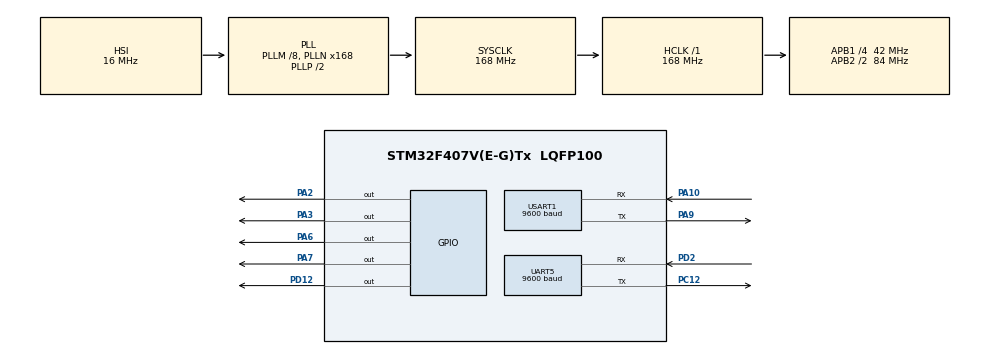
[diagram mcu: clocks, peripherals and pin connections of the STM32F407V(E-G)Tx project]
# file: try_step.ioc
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Mcu.Family=STM32F4
Mcu.Name=STM32F407V(E-G)Tx
Mcu.Package=LQFP100
NVIC.PriorityGroup=NVIC_PRIORITYGROUP_4
NVIC.UART5_IRQn=true\:0\:0\:false\:false\:true\:true
NVIC.USART1_IRQn=true\:0\:0\:false\:false\:true\:true
PA10.Mode=Asynchronous
PA10.Signal=USART1_RX
PA13.Mode=Serial_Wire
PA13.Signal=SYS_JTMS-SWDIO
PA14.Mode=Serial_Wire
PA14.Signal=SYS_JTCK-SWCLK
PA2.Signal=GPIO_Output
PA3.Signal=GPIO_Output
PA6.Signal=GPIO_Output
PA7.Signal=GPIO_Output
PA9.Mode=Asynchronous
PA9.Signal=USART1_TX
PC12.Mode=Asynchronous
PC12.Signal=UART5_TX
PD12.Signal=GPIO_Output
PD2.Mode=Asynchronous
PD2.Signal=UART5_RX
PH0-OSC_IN.Mode=HSE-External-Oscillator
PH0-OSC_IN.Signal=RCC_OSC_IN
PH1-OSC_OUT.Mode=HSE-External-Oscillator
PH1-OSC_OUT.Signal=RCC_OSC_OUT
ProjectManager.HeapSize=0x200
ProjectManager.StackSize=0x400
ProjectManager.TargetToolchain=MDK-ARM V5
RCC.48MHZClocksFreq_Value=84000000
RCC.AHBFreq_Value=168000000
RCC.APB1CLKDivider=RCC_HCLK_DIV4
RCC.APB1Freq_Value=42000000
RCC.APB1TimFreq_Value=84000000
RCC.APB2CLKDivider=RCC_HCLK_DIV2
RCC.APB2Freq_Value=84000000
RCC.APB2TimFreq_Value=168000000
RCC.CortexFreq_Value=168000000
RCC.HCLKFreq_Value=168000000
RCC.HSE_VALUE=25000000
RCC.HSI_VALUE=16000000
RCC.LSE_VALUE=32768
RCC.PLLM=8
RCC.PLLN=168
RCC.SYSCLKFreq_VALUE=168000000
RCC.SYSCLKSource=RCC_SYSCLKSOURCE_PLLCLK
RCC.VCOOutputFreq_Value=336000000
TIM1.Period=65535
TIM1.Prescaler=167
UART5.BaudRate=9600
UART5.VirtualMode=Asynchronous
USART1.BaudRate=9600
USART1.VirtualMode=VM_ASYNC
VP_TIM1_VS_ClockSourceINT.Mode=Internal
board=custom

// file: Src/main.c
/**
  ******************************************************************************
  * @file           : main.c
  * @brief          : Main program body
  ******************************************************************************
  ** This notice applies to any and all portions of this file
  * that are not between comment pairs USER CODE BEGIN and
  * USER CODE END. Other portions of this file, whether
  * inserted by the user or by software development tools
  * are owned by their respective copyright owners.
  *
  * COPYRIGHT(c) 2022 STMicroelectronics
  *
  * Redistribution and use in source and binary forms, with or without modification,
  * are permitted provided that the following conditions are met:
  *   1. Redistributions of source code must retain the above copyright notice,
  *      this list of conditions and the following disclaimer.
  *   2. Redistributions in binary form must reproduce the above copyright notice,
  *      this list of conditions and the following disclaimer in the documentation
  *      and/or other materials provided with the distribution.
  *   3. Neither the name of STMicroelectronics nor the names of its contributors
  *      may be used to endorse or promote products derived from this software
  *      without specific prior written permission.
  *
  * THIS SOFTWARE IS PROVIDED BY THE COPYRIGHT HOLDERS AND CONTRIBUTORS "AS IS"
  * AND ANY EXPRESS OR IMPLIED WARRANTIES, INCLUDING, BUT NOT LIMITED TO, THE
  * IMPLIED WARRANTIES OF MERCHANTABILITY AND FITNESS FOR A PARTICULAR PURPOSE ARE
  * DISCLAIMED. IN NO EVENT SHALL THE COPYRIGHT HOLDER OR CONTRIBUTORS BE LIABLE
  * FOR ANY DIRECT, INDIRECT, INCIDENTAL, SPECIAL, EXEMPLARY, OR CONSEQUENTIAL
  * DAMAGES (INCLUDING, BUT NOT LIMITED TO, PROCUREMENT OF SUBSTITUTE GOODS OR
  * SERVICES; LOSS OF USE, DATA, OR PROFITS; OR BUSINESS INTERRUPTION) HOWEVER
  * CAUSED AND ON ANY THEORY OF LIABILITY, WHETHER IN CONTRACT, STRICT LIABILITY,
  * OR TORT (INCLUDING NEGLIGENCE OR OTHERWISE) ARISING IN ANY WAY OUT OF THE USE
  * OF THIS SOFTWARE, EVEN IF ADVISED OF THE POSSIBILITY OF SUCH DAMAGE.
  *
  ******************************************************************************
  */
#include "main.h"
#include "stm32f4xx_hal.h"

/* USER CODE BEGIN Includes */
#include <stdio.h>
#include <stdlib.h>
#include <string.h>
#include "math.h"

#define LINE_BUFFER_LENGTH 512

#define DIR_PIN GPIO_PIN_3
#define DIR_PORT GPIOA
#define STEP_PIN GPIO_PIN_2
#define STEP_PORT GPIOA

#define DIR_PIN1 GPIO_PIN_7
#define STEP_PIN1 GPIO_PIN_6

#define DIR_PIN2 GPIO_PIN_4
#define STEP_PIN2 GPIO_PIN_5

/* USER CODE END Includes */

TIM_HandleTypeDef htim1;

UART_HandleTypeDef huart5;
UART_HandleTypeDef huart1;

/* USER CODE BEGIN PV */
/* Private variables ---------------------------------------------------------*/
int line_number = 0;

struct point {
	float x;
	float y;
	float z;
};

struct point actuatorPos;

float StepInc = 1;
int penDelay = 50;

uint16_t stepsPerMm = 80;

float Xmin = 0;
float Xmax = 400;
float Ymin = 0;
float Ymax = 400;
float Zmin = 0;
float Zmax = 1;

float Xpos = 0;
float Ypos = 0;
float Zpos = 1;

int stepDelay = 1000;
int dx, dy;
uint8_t flag = 0;

char line[LINE_BUFFER_LENGTH];
uint16_t Index = 0;
uint8_t c;
int lineIndex = 0;
int line_comment = 0;
int line_semicolon = 0;
float posX, posY;

char home[] = "home";

/* USER CODE END PV */

void SystemClock_Config(void);
static void MX_GPIO_Init(void);
static void MX_TIM1_Init(void);
static void MX_UART5_Init(void);
static void MX_USART1_UART_Init(void);

/* USER CODE BEGIN PFP */
/* Private function prototypes -----------------------------------------------*/
void microDelay (uint16_t delay);
void print(char *tx_data);
void print1(char *tx_data);
void Received_and_Send();
void clear_buffer();
void process_command(char *line, uint16_t Index);
void drawLine(float x, float y);
void print_real(float x);
void print_number(int a);
void onestep(uint8_t d, uint8_t a);
void penUp();
void penDown();
void homecoming();
/* USER CODE END PFP */

int main(void)
{

  /* MCU Configuration----------------------------------------------------------*/

  /* Reset of all peripherals, Initializes the Flash interface and the Systick. */
  HAL_Init();

  /* Configure the system clock */
  SystemClock_Config();

  /* Initialize all configured peripherals */
  MX_GPIO_Init();
  MX_TIM1_Init();
  MX_UART5_Init();
  MX_USART1_UART_Init();
  /* USER CODE BEGIN 2 */
	HAL_TIM_Base_Start(&htim1);
	HAL_UART_Receive_IT(&huart5, &c, 1);

	/*print("Mini CNC Plotter alive and kicking!\r\n");
  print("X range is from ");
  print("0");
  print(" to ");
  print("40");
  print(" mm.\r\n");
  print("Y range is from ");
  print("0");
  print(" to ");
  print("40");
  print(" mm.\r\n"); */
  /* USER CODE END 2 */

  /* Infinite loop */
  /* USER CODE BEGIN WHILE */
  while (1)
  {
		int i;
		HAL_UART_Receive_IT(&huart5, &c, 1);

		/*HAL_GPIO_WritePin(DIR_PORT, DIR_PIN, GPIO_PIN_SET);
		HAL_GPIO_WritePin(DIR_PORT, DIR_PIN1, GPIO_PIN_SET);
		for (i = 0; i < 3200; i++){
			HAL_GPIO_WritePin(STEP_PORT, STEP_PIN, GPIO_PIN_SET);
			HAL_GPIO_WritePin(STEP_PORT, STEP_PIN1, GPIO_PIN_SET);
			microDelay (stepDelay);
			HAL_GPIO_WritePin(STEP_PORT, STEP_PIN, GPIO_PIN_RESET);
			HAL_GPIO_WritePin(STEP_PORT, STEP_PIN1, GPIO_PIN_RESET);
			microDelay (stepDelay);
		}

		HAL_GPIO_WritePin(DIR_PORT, DIR_PIN, GPIO_PIN_RESET);
		HAL_GPIO_WritePin(DIR_PORT, DIR_PIN1, GPIO_PIN_RESET);
		for (i = 0; i < 3200; i++){
			HAL_GPIO_WritePin(STEP_PORT, STEP_PIN, GPIO_PIN_SET);
			HAL_GPIO_WritePin(STEP_PORT, STEP_PIN1, GPIO_PIN_SET);
			microDelay (stepDelay);
			HAL_GPIO_WritePin(STEP_PORT, STEP_PIN, GPIO_PIN_RESET);
			HAL_GPIO_WritePin(STEP_PORT, STEP_PIN1, GPIO_PIN_RESET);
			microDelay (stepDelay);
		}
		HAL_Delay(5000);*/
		//if(flag ==0){
			//print("M1 X25.89 Y55.59 F3500.0\nG1 X35.34 Y24.45 F3500.00\nenough\n\n");
			//HAL_Delay(1000);
			//flag  =1;
		//}
  /* USER CODE END WHILE */

  }

}

void SystemClock_Config(void)
{

  RCC_OscInitTypeDef RCC_OscInitStruct;
  RCC_ClkInitTypeDef RCC_ClkInitStruct;

    /**Configure the main internal regulator output voltage
    */
  __HAL_RCC_PWR_CLK_ENABLE();

  __HAL_PWR_VOLTAGESCALING_CONFIG(PWR_REGULATOR_VOLTAGE_SCALE1);

    /**Initializes the CPU, AHB and APB busses clocks
    */
  RCC_OscInitStruct.OscillatorType = RCC_OSCILLATORTYPE_HSI;
  RCC_OscInitStruct.HSIState = RCC_HSI_ON;
  RCC_OscInitStruct.HSICalibrationValue = 16;
  RCC_OscInitStruct.PLL.PLLState = RCC_PLL_ON;
  RCC_OscInitStruct.PLL.PLLSource = RCC_PLLSOURCE_HSI;
  RCC_OscInitStruct.PLL.PLLM = 8;
  RCC_OscInitStruct.PLL.PLLN = 168;
  RCC_OscInitStruct.PLL.PLLP = RCC_PLLP_DIV2;
  RCC_OscInitStruct.PLL.PLLQ = 4;
  if (HAL_RCC_OscConfig(&RCC_OscInitStruct) != HAL_OK)
  {
    _Error_Handler(__FILE__, __LINE__);
  }

    /**Initializes the CPU, AHB and APB busses clocks
    */
  RCC_ClkInitStruct.ClockType = RCC_CLOCKTYPE_HCLK|RCC_CLOCKTYPE_SYSCLK
                              |RCC_CLOCKTYPE_PCLK1|RCC_CLOCKTYPE_PCLK2;
  RCC_ClkInitStruct.SYSCLKSource = RCC_SYSCLKSOURCE_PLLCLK;
  RCC_ClkInitStruct.AHBCLKDivider = RCC_SYSCLK_DIV1;
  RCC_ClkInitStruct.APB1CLKDivider = RCC_HCLK_DIV4;
  RCC_ClkInitStruct.APB2CLKDivider = RCC_HCLK_DIV2;

  if (HAL_RCC_ClockConfig(&RCC_ClkInitStruct, FLASH_LATENCY_5) != HAL_OK)
  {
    _Error_Handler(__FILE__, __LINE__);
  }

    /**Configure the Systick interrupt time
    */
  HAL_SYSTICK_Config(HAL_RCC_GetHCLKFreq()/1000);

    /**Configure the Systick
    */
  HAL_SYSTICK_CLKSourceConfig(SYSTICK_CLKSOURCE_HCLK);

  /* SysTick_IRQn interrupt configuration */
  HAL_NVIC_SetPriority(SysTick_IRQn, 0, 0);
}

/* TIM1 init function */
static void MX_TIM1_Init(void)
{

  TIM_ClockConfigTypeDef sClockSourceConfig;
  TIM_MasterConfigTypeDef sMasterConfig;

  htim1.Instance = TIM1;
  htim1.Init.Prescaler = 167;
  htim1.Init.CounterMode = TIM_COUNTERMODE_UP;
  htim1.Init.Period = 65535;
  htim1.Init.ClockDivision = TIM_CLOCKDIVISION_DIV1;
  htim1.Init.RepetitionCounter = 0;
  if (HAL_TIM_Base_Init(&htim1) != HAL_OK)
  {
    _Error_Handler(__FILE__, __LINE__);
  }

  sClockSourceConfig.ClockSource = TIM_CLOCKSOURCE_INTERNAL;
  if (HAL_TIM_ConfigClockSource(&htim1, &sClockSourceConfig) != HAL_OK)
  {
    _Error_Handler(__FILE__, __LINE__);
  }

  sMasterConfig.MasterOutputTrigger = TIM_TRGO_RESET;
  sMasterConfig.MasterSlaveMode = TIM_MASTERSLAVEMODE_DISABLE;
  if (HAL_TIMEx_MasterConfigSynchronization(&htim1, &sMasterConfig) != HAL_OK)
  {
    _Error_Handler(__FILE__, __LINE__);
  }

}

/* UART5 init function */
static void MX_UART5_Init(void)
{

  huart5.Instance = UART5;
  huart5.Init.BaudRate = 9600;
  huart5.Init.WordLength = UART_WORDLENGTH_8B;
  huart5.Init.StopBits = UART_STOPBITS_1;
  huart5.Init.Parity = UART_PARITY_NONE;
  huart5.Init.Mode = UART_MODE_TX_RX;
  huart5.Init.HwFlowCtl = UART_HWCONTROL_NONE;
  huart5.Init.OverSampling = UART_OVERSAMPLING_16;
  if (HAL_UART_Init(&huart5) != HAL_OK)
  {
    _Error_Handler(__FILE__, __LINE__);
  }

}

/* USART1 init function */
static void MX_USART1_UART_Init(void)
{

  huart1.Instance = USART1;
  huart1.Init.BaudRate = 9600;
  huart1.Init.WordLength = UART_WORDLENGTH_8B;
  huart1.Init.StopBits = UART_STOPBITS_1;
  huart1.Init.Parity = UART_PARITY_NONE;
  huart1.Init.Mode = UART_MODE_TX_RX;
  huart1.Init.HwFlowCtl = UART_HWCONTROL_NONE;
  huart1.Init.OverSampling = UART_OVERSAMPLING_16;
  if (HAL_UART_Init(&huart1) != HAL_OK)
  {
    _Error_Handler(__FILE__, __LINE__);
  }

}

/** Configure pins as
        * Analog
        * Input
        * Output
        * EVENT_OUT
        * EXTI
*/
static void MX_GPIO_Init(void)
{

  GPIO_InitTypeDef GPIO_InitStruct;

  /* GPIO Ports Clock Enable */
  __HAL_RCC_GPIOH_CLK_ENABLE();
  __HAL_RCC_GPIOA_CLK_ENABLE();
  __HAL_RCC_GPIOD_CLK_ENABLE();
  __HAL_RCC_GPIOC_CLK_ENABLE();

  /*Configure GPIO pin Output Level */
  HAL_GPIO_WritePin(GPIOA, GPIO_PIN_2|GPIO_PIN_3|GPIO_PIN_6|GPIO_PIN_7, GPIO_PIN_RESET);

  /*Configure GPIO pin Output Level */
  HAL_GPIO_WritePin(GPIOD, GPIO_PIN_12, GPIO_PIN_RESET);

  /*Configure GPIO pins : PA2 PA3 PA6 PA7 */
  GPIO_InitStruct.Pin = GPIO_PIN_2|GPIO_PIN_3|GPIO_PIN_6|GPIO_PIN_7;
  GPIO_InitStruct.Mode = GPIO_MODE_OUTPUT_PP;
  GPIO_InitStruct.Pull = GPIO_NOPULL;
  GPIO_InitStruct.Speed = GPIO_SPEED_FREQ_LOW;
  HAL_GPIO_Init(GPIOA, &GPIO_InitStruct);

  /*Configure GPIO pin : PD12 */
  GPIO_InitStruct.Pin = GPIO_PIN_12;
  GPIO_InitStruct.Mode = GPIO_MODE_OUTPUT_PP;
  GPIO_InitStruct.Pull = GPIO_NOPULL;
  GPIO_InitStruct.Speed = GPIO_SPEED_FREQ_LOW;
  HAL_GPIO_Init(GPIOD, &GPIO_InitStruct);

}

/* USER CODE BEGIN 4 */
void HAL_UART_RxCpltCallback(UART_HandleTypeDef *huart){
	if(huart->Instance == UART5){
		Received_and_Send();
		HAL_UART_Receive_IT(&huart5,&c,1);
	}
}

void microDelay (uint16_t delay)
{
  __HAL_TIM_SET_COUNTER(&htim1, 0);
  while (__HAL_TIM_GET_COUNTER(&htim1) < delay);
}

//in ra man hinh chuoi ki tu yeu cau
void print(char *tx_data){
	while(*tx_data != '\0'){
		HAL_UART_Transmit(&huart5, (uint8_t*)tx_data, sizeof(*tx_data),1000);
		tx_data++;
	}
}

void print1(char *tx_data){
	while(*tx_data != '\0'){
		HAL_UART_Transmit(&huart1, (uint8_t*)tx_data, sizeof(*tx_data),1000);
		tx_data++;
	}
}

//nhan ki tu va gui lai
void Received_and_Send(){
	if((c != '\n')&&(c != '\r')){
		if((line_comment) || (line_semicolon) ) {   // Throw away all comment characters
			if( c == ')' )  line_comment = 0;     // End of comment. Resume line.
			}
    else{
			if ( c <= ' ' ) {                           // Throw away whitepace and control characters
				}
      else if ( c == '/' ) {                    // Block delete not supported. Ignore character.
        }
      else if ( c == '(' ) {                    // Enable comments flag and ignore all characters until ')' or EOL.
				line_comment = 1;
        }
      else if ( c == ';' ) {
				//line_semicolon = 1;
         }
      else if ( lineIndex >= LINE_BUFFER_LENGTH-1 ) {
				print( "ERROR - lineBuffer overflow\n" );
				line_comment = 0;
				line_semicolon = 0;
         }
      else if ( c >= 'a' && c <= 'z' ) {        // Upcase lowercase
        line[ lineIndex++ ] = c-'a'+'A';
         }
      else {
        line[ lineIndex++ ] = c;
         }
        }
      }
	else{
		line_number++;
		if ( lineIndex > 0 ) {                        // Line is complete. Then execute!
			if(!strcmp(line,home)){
				homecoming();
			}
			process_command(line, lineIndex);
			clear_buffer();
			lineIndex = 0;
		}
			line_comment = 0;
			line_semicolon = 0;

			print("ok\n");
		}
}

//xoa bo dem khi gap '\n'
void clear_buffer(){
	for(int i = 0;i<512;i++){
		line[i] = 0;
	}
}

//dieu khien dong co buoc voi G-CODE
void process_command(char *line, uint16_t Index){
	int currentIndex = 0;
	char buffer[64];
	struct point newPos;
	newPos.x = 0.0;
	newPos.y = 0.0;
	while(currentIndex < Index){
		switch(line[currentIndex++]){
			case 'U':
				penUp();
				break;
			case 'D':
				penDown();
				break;
			case 'G':
				switch(line[currentIndex++]){
					case '0':
	//					homecoming();
						break;
					case '1':
						char *indexX = strchr(line,'X');
						char *indexY = strchr(line,'Y');
						newPos.x = atof(indexX + 1);
						newPos.y = atof(indexY + 1);
						posX = newPos.x;
						drawLine(newPos.x, newPos.y);
						actuatorPos.x = newPos.x;
						actuatorPos.y = newPos.y;
						break;
					default:
						break;
				}
				break;
			case 'M':
						buffer[0] = line[ currentIndex++ ];        // /!\ Dirty - Only works with 3 digit commands
						buffer[1] = line[ currentIndex++ ];
						buffer[2] = line[ currentIndex++ ];
						buffer[3] = '\0';
						switch ( atoi( buffer ) ){
							case 3:
								char* indexS = strchr( line+currentIndex, 'S' );
								float Spos = atof( indexS + 1);
								if (Spos == 255) {
									penDown();
								}
								else{
									penUp();
								}
								break;
							default:
								break;
						}
				}
		}
}

void drawLine(float x1, float y1){

	//Destination
	print("x1, y1: ");
  print_real(x1);
  print(",");
  print_real(y1);
  print("\n");

	if (x1 >= Xmax) {
   x1 = Xmax;
  }
  if (x1 <= Xmin) {
    x1 = Xmin;
  }
  if (y1 >= Ymax) {
    y1 = Ymax;
  }
  if (y1 <= Ymin) {
    y1 = Ymin;
  }

	//Current position
	print("Xpos, Ypos: ");
  print_real(Xpos);
  print(",");
  print_real(Ypos);
  print("\n");

	//Convert destination to steps
	x1 = (int)(x1*stepsPerMm);
	print("steps_x1: ");
  print_real(x1);
  y1 = (int)(y1*stepsPerMm);
	print(", steps_y1: ");
  print_real(y1);
	print("\n");

  float x0 = Xpos;
  float y0 = Ypos;

	//Steps to reach destination from current position
	dx = abs(x1-x0);
  dy = abs(y1-y0);
	print("dx, dy:");
  print_number(dx);
  print(",");
  print_number(dy);
  print("\n");
	print("Going to destination (");
  print_number(x1);
  print(",");
  print_number(y1);
  print(")\n");

  int sx = x0<x1 ? StepInc : -StepInc;
  int sy = y0<y1 ? StepInc : -StepInc;

	long i;
  long over = 0;

  if (dx > dy) {
    for (i=0; i<dx; ++i) {
      onestep(sx,1);					//direct: x
      over+=dy;
      if (over>=dx) {
       over-=dx;
				onestep(sy,0);					//direct: y
      }
    }
  }
  else {
    for (i=0; i<dy; ++i) {
      onestep(sy,0);
      over+=dx;
      if (over>=dy) {
        over-=dy;
        onestep(sx,1);
      }
    }
  }
	Xpos = x1;
  Ypos = y1;
}

void print_real(float a){
	char str[10];
	sprintf(str,"%0.3f",a);
	print(str);
}

void print_number(int a){
  char str[10];
	sprintf(str,"%d",a);
	print(str);
}

void onestep(uint8_t direct, uint8_t ordinate){			//ordinate = 1: x, direct = 1: forward
		if(ordinate == 1){
			if(direct == 1){	// x - forward
				HAL_GPIO_WritePin(DIR_PORT, DIR_PIN, GPIO_PIN_SET);
				HAL_GPIO_WritePin(STEP_PORT, STEP_PIN, GPIO_PIN_SET);
				microDelay (stepDelay);
				HAL_GPIO_WritePin(STEP_PORT, STEP_PIN, GPIO_PIN_RESET);
				microDelay (stepDelay);
			}
			else{				//x - backward
				HAL_GPIO_WritePin(DIR_PORT, DIR_PIN, GPIO_PIN_RESET);
				HAL_GPIO_WritePin(STEP_PORT, STEP_PIN, GPIO_PIN_SET);
				microDelay (stepDelay);
				HAL_GPIO_WritePin(STEP_PORT, STEP_PIN, GPIO_PIN_RESET);
				microDelay (stepDelay);
			}
		}
		else{
			if(direct == 1){ // y - forward
				HAL_GPIO_WritePin(DIR_PORT, DIR_PIN1, GPIO_PIN_SET);
				HAL_GPIO_WritePin(STEP_PORT, STEP_PIN1, GPIO_PIN_SET);
				microDelay (stepDelay);
				HAL_GPIO_WritePin(STEP_PORT, STEP_PIN1, GPIO_PIN_RESET);
				microDelay (stepDelay);
			}
			else{			// y - backward
				HAL_GPIO_WritePin(DIR_PORT, DIR_PIN1, GPIO_PIN_RESET);
				HAL_GPIO_WritePin(STEP_PORT, STEP_PIN1, GPIO_PIN_SET);
				microDelay (stepDelay);
				HAL_GPIO_WritePin(STEP_PORT, STEP_PIN1, GPIO_PIN_RESET);
				microDelay (stepDelay);
			}
		}
}

void penUp(){
	int i;
	HAL_GPIO_WritePin(DIR_PORT, DIR_PIN2, GPIO_PIN_SET);
	for(i = 0;i < 100; i++){
		HAL_GPIO_WritePin(STEP_PORT, STEP_PIN2, GPIO_PIN_SET);
		microDelay (stepDelay);
		HAL_GPIO_WritePin(STEP_PORT, STEP_PIN2, GPIO_PIN_RESET);
		microDelay (stepDelay);
	}
}

void penDown(){
	int i;
	HAL_GPIO_WritePin(DIR_PORT, DIR_PIN2, GPIO_PIN_RESET);
	for(i = 0;i < 100; i++){
		HAL_GPIO_WritePin(STEP_PORT, STEP_PIN2, GPIO_PIN_SET);
		microDelay (stepDelay);
		HAL_GPIO_WritePin(STEP_PORT, STEP_PIN2, GPIO_PIN_RESET);
		microDelay (stepDelay);
	}
}

void homecoming(){
	dx = (int)(Xpos*stepsPerMm);
	dy = (int)(Ypos*stepsPerMm);

	int sx = -StepInc;
  int sy = -StepInc;

	long i;
  long over = 0;

  if (dx > dy) {
    for (i=0; i<dx; ++i) {
      onestep(sx,1);					//direct: x
      over+=dy;
      if (over>=dx) {
       over-=dx;
				onestep(sy,0);					//direct: y
      }
    }
  }
  else {
    for (i=0; i<dy; ++i) {
      onestep(sy,0);
      over+=dx;
      if (over>=dy) {
        over-=dy;
        onestep(sx,1);
      }
    }
  }
}
/* USER CODE END 4 */

void _Error_Handler(char *file, int line)
{
  while(1)
  {
  }
}

/************************ (C) COPYRIGHT STMicroelectronics *****END OF FILE****/
